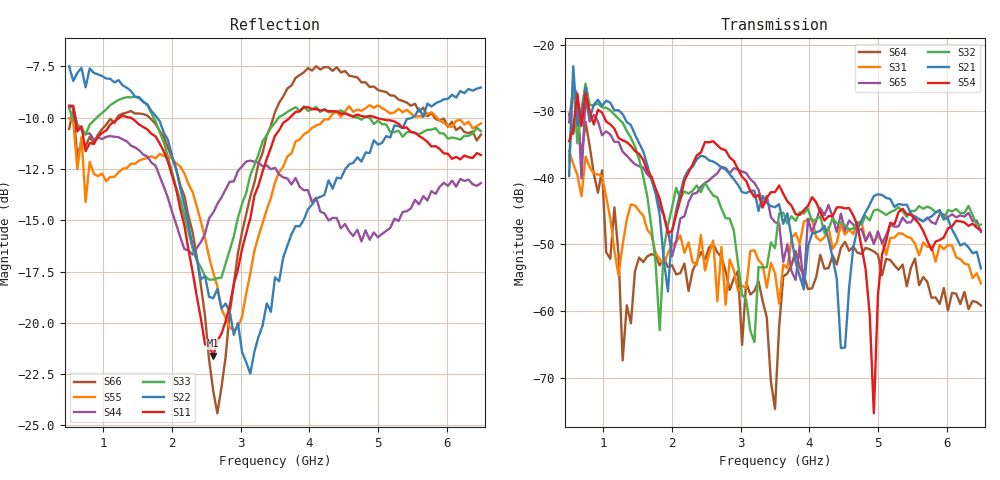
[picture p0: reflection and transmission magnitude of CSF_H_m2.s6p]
!Keysight Technologies,M9804A,MY58100912,A.14.10.03
!Date: Thursday, April 27, 2023 10:28:33
!Correction: S11(C  6-Port  )
!S12(C  6-Port  )
!S13(C  6-Port  )
!S14(C  6-Port  )
!S15(C  6-Port  )
!S16(C  6-Port  )
!S21(C  6-Port  )
!S22(C  6-Port  )
!S23(C  6-Port  )
!S24(C  6-Port  )
!S25(C  6-Port  )
!S26(C  6-Port  )
!S31(C  6-Port  )
!S32(C  6-Port  )
!S33(C  6-Port  )
!S34(C  6-Port  )
!S35(C  6-Port  )
!S36(C  6-Port  )
!S41(C  6-Port  )
!S42(C  6-Port  )
!S43(C  6-Port  )
!S44(C  6-Port  )
!S45(C  6-Port  )
!S46(C  6-Port  )
!S51(C  6-Port  )
!S52(C  6-Port  )
!S53(C  6-Port  )
!S54(C  6-Port  )
!S55(C  6-Port  )
!S56(C  6-Port  )
!S61(C  6-Port  )
!S62(C  6-Port  )
!S63(C  6-Port  )
!S64(C  6-Port  )
!S65(C  6-Port  )
!S66(C  6-Port  )
!S6P File: Measurement: :
# Hz S  RI  R 50
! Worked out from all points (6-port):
!   101 points, 500 MHz to 6.5 GHz, reference 50 ohm
!   strongest paths, dB at 500 MHz, 2 GHz, 3.5 GHz, 5 GHz, 6.5 GHz:
!     S54: -34.5, -48.0, -42.1, -57.6, -47.9
!     S21: -39.7, -48.1, -44.4, -42.5, -53.6
!     S32: -37.6, -44.4, -50.6, -44.8, -47.0
!     S65: -31.7, -51.8, -46.7, -48.0, -48.1
!     S31: -36.0, -50.2, -54.3, -48.6, -55.9
!     S64: -30.4, -53.1, -74.7, -51.6, -59.2
!   lowest |S11| = -21.6 dB at 2.6 GHz (marker M1), VSWR 1.18, Z = 42.6 + j2.05 ohm
!   |S11| at or under -10 dB: 587.9 MHz to 1.235 GHz (647 MHz wide, 71 % of centre); 1.398 GHz to 3.716 GHz (2.317 GHz wide, 90.6 % of centre); 4.975 GHz to end of sweep
